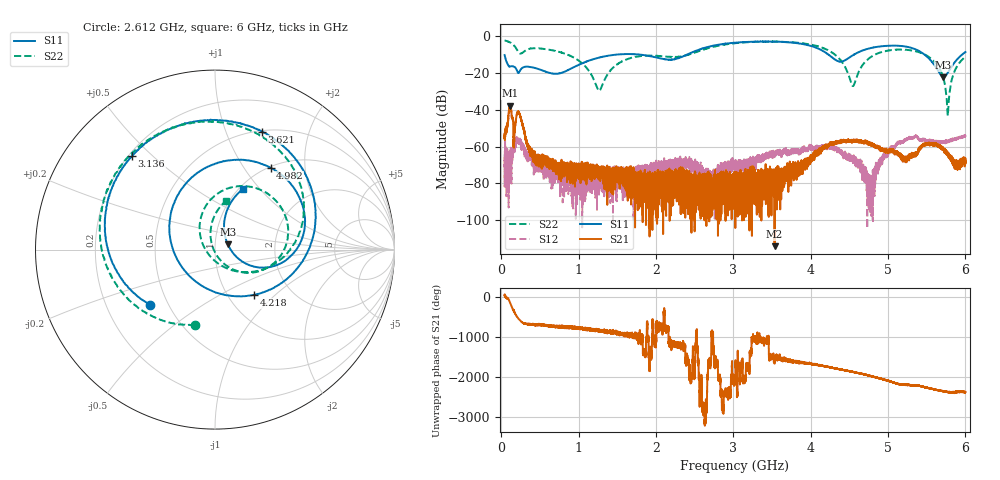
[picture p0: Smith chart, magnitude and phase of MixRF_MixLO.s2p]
!Agilent Technologies,E8364A,US41440144,A.06.04.32
!Agilent E8364A: A.06.04.32
!Date: Wednesday, November 28, 2018 16:42:06
!Correction: S11(Full 2 Port(1,2)) S21(Full 2 Port(1,2)) S12(Full 2 Port(1,2)) S22(Full 2 Port(1,2))
!S2P File: Measurements: S11, S21, S12, S22:
# Hz S  dB  R 50
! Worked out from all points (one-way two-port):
!   16001 points, 45 MHz to 6 GHz, reference 50 ohm
!   highest |S21| = -37.73 dB at 117.2 MHz (marker M1); lowest = -114.2 dB at 3.534 GHz (marker M2)
!   lowest |S11| = -22.3 dB at 5.715 GHz (marker M3), VSWR 1.17, Z = 57.6 + j3.3 ohm
!   |S11| at or under -10 dB: start of sweep to 1.476 GHz; 1.807 GHz to 2.398 GHz (591.2 MHz wide, 28.1 % of centre); 5.474 GHz to 5.955 GHz (481 MHz wide, 8.42 % of centre)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
!   |S22| runs from -43.3 to -2.2 dB; largest |S21 - S12| = 0.013
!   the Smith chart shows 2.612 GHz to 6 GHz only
!   S11 on the Smith chart (normalised r, x): 2.612 GHz: 0.40, -0.32; 3.136 GHz: 0.21, +0.43; 3.621 GHz: 0.51, +1.35; 4.218 GHz: 1.31, -0.74; 4.982 GHz: 1.02, +1.33; 6 GHz: 1.04, +0.82
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4.5e7  -10.19 -74.5  -54.82 26.9  -67.64 90.8  -2.25 -21.2
1.172044e8  -16.41 -56.3  -37.73 -162.2  -63.58 134.9  -3.34 -49.9
2.229056e8  -19.86 -67.7  -41.10 172.3  -56.79 30.4  -8.49 -79.0
4.4994e8  -17.37 -105.0  -66.76 9.9  -66.70 -86.5  -6.51 -105.4
1.037624e9  -14.87 -124.0  -71.24 -66.9  -73.86 77.4  -14.35 133.9
1.268008e9  -11.56 -153.4  -75.73 -120.3  -79.50 -43.9  -29.66 168.4
1.543427e9  -9.78 163.4  -73.93 157.5  -73.74 -144.3  -14.06 -168.2
2.030248e9  -11.73 57.6  -83.23 -15.7  -72.15 52.0  -10.65 87.8
2.611605e9  -6.48 -139.6  -83.47 159.5  -79.85 -164.0  -7.25 -104.8
3.0225e9  -3.46 147.5  -87.64 141.5  -68.34 58.2  -3.74 170.9
3.135645e9  -3.16 131.6  -80.72 72.2  -70.34 29.4  -3.33 153.5
3.533886e9  -2.88 79.7  -114.24 131.0  -64.29 -83.1  -2.87 100.1
3.620978e9  -3.00 68.3  -71.98 -114.3  -64.52 -115.4  -2.96 89.0
4.015124e9  -5.36 4.4  -67.14 122.2  -60.15 137.6  -4.61 35.1
4.218338e9  -9.58 -49.4  -59.75 52.2  -60.65 65.4  -7.41 1.3
4.546608e9  -10.26 144.8  -56.78 -70.9  -67.84 -40.6  -27.07 -142.7
4.77327e9  -6.42 90.2  -57.95 -172.9  -85.26 36.5  -11.40 97.2
4.981695e9  -5.17 55.8  -61.55 75.8  -64.32 -16.1  -7.88 60.2
5.007748e9  -5.11 51.9  -62.82 62.6  -62.69 -18.0  -7.69 56.0
5.715277e9  -22.28 21.8  -62.01 167.2  -58.11 39.3  -22.74 -61.6
5.77706e9  -19.48 60.1  -64.18 140.9  -57.71 10.9  -41.17 165.2
6e9  -8.55 65.0  -68.08 142.7  -54.24 -86.7  -11.10 77.5
